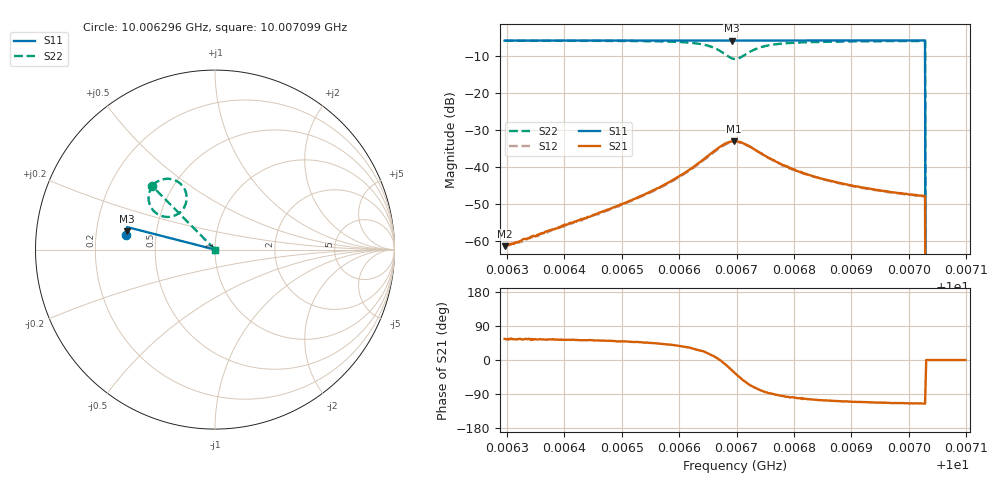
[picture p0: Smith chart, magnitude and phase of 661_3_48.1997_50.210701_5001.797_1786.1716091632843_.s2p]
#  HZ  S  RI  R  50.00
! Rohde & Schwarz Vector Network Analyzer
! Rohde-Schwarz,ZNB20-2Port,1311601062101988,3.16
! Created: UTC 3/20/2024, 12:05:44 PM
! freq[Hz]  re:S11  im:S11  re:S21  im:S21  re:S12  im:S12  re:S22  im:S22
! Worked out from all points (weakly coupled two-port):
!   401 points, 10.006296 GHz to 10.007099 GHz, reference 50 ohm
!   highest |S21| = -33.02 dB at 10.006695 GHz (marker M1); lowest = -61.3 dB at 10.006296 GHz (marker M2)
!   lowest |S11| = -6.0 dB at 10.006691 GHz (marker M3), VSWR 3.02, Z = 16.7 + j4.66 ohm
!   |S11| at or under -10 dB: 10.007029 GHz to end of sweep
!   |S22| runs from - to -6.0 dB; largest |S21 - S12| = 0.0018
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1.00062957e10  -0.4975 0.0791  0.000487 0.000714  0.000452 0.000742  -0.3504 0.3563
1.00063219e10  -0.4973 0.081  0.000556 0.000836  0.0005 0.000829  -0.3481 0.3585
1.00063399e10  -0.4972 0.082  0.000637 0.000905  0.000609 0.000957  -0.3465 0.3602
1.00064303e10  -0.4962 0.0881  0.00123 0.0016  0.00109 0.00158  -0.3357 0.3692
1.00065066e10  -0.4954 0.0932  0.00217 0.00251  0.00204 0.00255  -0.321 0.3794
1.00065648e10  -0.4945 0.097  0.00384 0.00365  0.0036 0.00375  -0.3 0.3891
1.0006611e10  -0.4939 0.1003  0.00701 0.00481  0.00656 0.00504  -0.2659 0.3949
1.00066451e10  -0.493 0.1024  0.0123 0.00467  0.0118 0.0052  -0.2157 0.383
1.00066672e10  -0.492 0.1037  0.0178 0.00124  0.0171 0.00211  -0.1713 0.34
1.00066793e10  -0.4916 0.104  0.0202 -0.00343  0.0196 -0.00207  -0.1578 0.2927
1.00066913e10  -0.4912 0.1041  0.0198 -0.0098  0.0201 -0.00814  -0.1719 0.2354
1.00066953e10  -0.4913 0.1041  0.0189 -0.0118  0.0193 -0.0102  -0.1841 0.2182
1.00066973e10  -0.4914 0.1043  0.0183 -0.0127  0.0187 -0.0112  -0.1915 0.2107
1.00067154e10  -0.4919 0.1047  0.0108 -0.0172  0.0117 -0.0162  -0.2715 0.1822
1.00067455e10  -0.4924 0.1066  0.00213 -0.0147  0.00299 -0.0145  -0.35 0.2257
1.00067837e10  -0.4923 0.1093  -0.00114 -0.0104  -0.000495 -0.0104  -0.3697 0.2765
1.00068319e10  -0.4921 0.1128  -0.00187 -0.00736  -0.00149 -0.0074  -0.3684 0.3095
1.00068861e10  -0.4913 0.1164  -0.00194 -0.00562  -0.00166 -0.00562  -0.3624 0.3288
1.00069664e10  -0.4903 0.1216  -0.00183 -0.0043  -0.0016 -0.00431  -0.3543 0.345
1.00070246e10  -0.4895 0.1254  -0.00172 -0.00374  -0.00154 -0.00377  -0.3494 0.3528
1.00070347e10  0 0  0 0  0 0  0 0
1.00070989e10  0 0  0 0  0 0  0 0
